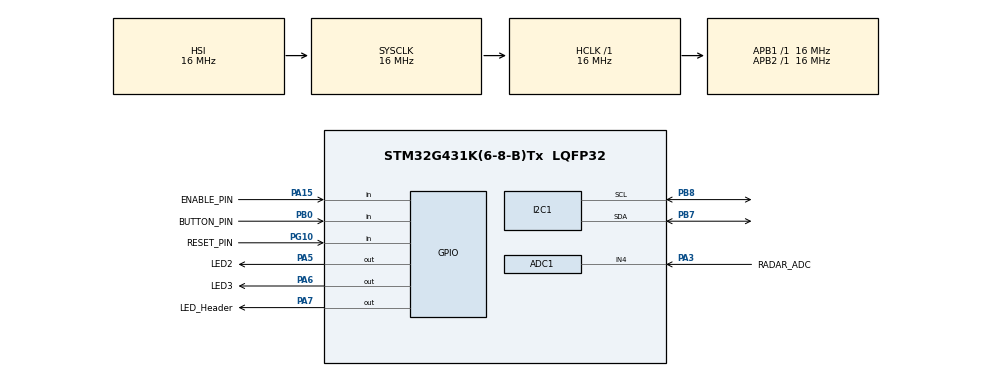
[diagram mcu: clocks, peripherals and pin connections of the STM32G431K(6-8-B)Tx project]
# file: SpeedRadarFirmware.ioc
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ADC1.Channel-1\#ChannelRegularConversion=ADC_CHANNEL_4
ADC1.DMAContinuousRequests=ENABLE
ADC1.ExternalTrigConv=ADC_EXTERNALTRIG_T6_TRGO
ADC1.NbrOfConversionFlag=1
ADC1.OffsetNumber-1\#ChannelRegularConversion=ADC_OFFSET_NONE
ADC1.Rank-1\#ChannelRegularConversion=1
ADC1.SamplingTime-1\#ChannelRegularConversion=ADC_SAMPLETIME_2CYCLES_5
ADC1.master=1
Dma.ADC1.0.Direction=DMA_PERIPH_TO_MEMORY
Dma.ADC1.0.EventEnable=DISABLE
Dma.ADC1.0.Instance=DMA1_Channel1
Dma.ADC1.0.MemDataAlignment=DMA_MDATAALIGN_HALFWORD
Dma.ADC1.0.MemInc=DMA_MINC_ENABLE
Dma.ADC1.0.Mode=DMA_CIRCULAR
Dma.ADC1.0.PeriphDataAlignment=DMA_PDATAALIGN_HALFWORD
Dma.ADC1.0.PeriphInc=DMA_PINC_DISABLE
Dma.ADC1.0.Polarity=HAL_DMAMUX_REQ_GEN_RISING
Dma.ADC1.0.Priority=DMA_PRIORITY_LOW
Dma.ADC1.0.RequestNumber=1
Dma.ADC1.0.SignalID=NONE
Dma.ADC1.0.SyncEnable=DISABLE
Dma.ADC1.0.SyncPolarity=HAL_DMAMUX_SYNC_NO_EVENT
Dma.ADC1.0.SyncRequestNumber=1
Dma.ADC1.0.SyncSignalID=NONE
Dma.Request0=ADC1
I2C1.Timing=0x00503D58
Mcu.Family=STM32G4
Mcu.Name=STM32G431K(6-8-B)Tx
Mcu.Package=LQFP32
NVIC.DMA1_Channel1_IRQn=true\:0\:0\:false\:false\:true\:false\:true\:true
NVIC.PriorityGroup=NVIC_PRIORITYGROUP_4
PA13.Signal=SYS_JTMS-SWDIO
PA14.Signal=SYS_JTCK-SWCLK
PA15.GPIO_Label=ENABLE_PIN
PA15.Signal=GPIO_Input
PA3.GPIO_Label=RADAR_ADC
PA3.Mode=IN4-Single-Ended
PA3.Signal=ADC1_IN4
PA5.GPIO_Label=LED2
PA5.Signal=GPIO_Output
PA6.GPIO_Label=LED3
PA6.Signal=GPIO_Output
PA7.GPIO_Label=LED_Header
PA7.Signal=GPIO_Output
PA8.Signal=I2C2_SDA
PA9.Signal=I2C2_SCL
PB0.GPIO_Label=BUTTON_PIN
PB0.Signal=GPIO_Input
PB7.Mode=I2C
PB7.Signal=I2C1_SDA
PB8-BOOT0.Mode=I2C
PB8-BOOT0.Signal=I2C1_SCL
PG10-NRST.GPIO_Label=RESET_PIN
PG10-NRST.Signal=GPIO_Input
ProjectManager.HeapSize=0x200
ProjectManager.StackSize=0x400
ProjectManager.TargetToolchain=STM32CubeIDE
RCC.AHBFreq_Value=16000000
RCC.APB1Freq_Value=16000000
RCC.APB1TimFreq_Value=16000000
RCC.APB2Freq_Value=16000000
RCC.APB2TimFreq_Value=16000000
RCC.CortexFreq_Value=16000000
RCC.EXTERNAL_CLOCK_VALUE=12288000
RCC.HCLKFreq_Value=16000000
RCC.HSE_VALUE=8000000
RCC.HSI48_VALUE=48000000
RCC.HSI_VALUE=16000000
RCC.LSE_VALUE=32768
RCC.SYSCLKFreq_VALUE=16000000
RCC.USBFreq_Value=64000000
RCC.VCOOutputFreq_Value=128000000
TIM6.AutoReloadPreload=TIM_AUTORELOAD_PRELOAD_ENABLE
TIM6.PeriodNoDither=799
TIM6.Prescaler=1
TIM6.TIM_MasterOutputTrigger=TIM_TRGO_UPDATE
VP_SYS_VS_DBSignals.Mode=DisableDeadBatterySignals
VP_TIM6_VS_ClockSourceINT.Mode=Enable_Timer
board=custom

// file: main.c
/* USER CODE BEGIN Header */

/* USER CODE END Header */
#include "main.h"

/* USER CODE BEGIN Includes */
#include "arm_math.h"
#include <stdio.h>
/* USER CODE END Includes */

/* USER CODE BEGIN PD */
#define ARM_MATH_CM4

#define c 299792458.0f // m/s

// CHANGE 0x30 ADDRESS TO WHATEVER THE EFM* ADD IS
#define EFM8_I2C_ADDR (0x30 << 1)

/* USER CODE END PD */

ADC_HandleTypeDef hadc1;
DMA_HandleTypeDef hdma_adc1;

I2C_HandleTypeDef hi2c1;

TIM_HandleTypeDef htim6;

/* USER CODE BEGIN PV */
volatile uint8_t uart_tx_buffer[2] = {0,0};
/* USER CODE END PV */

void SystemClock_Config(void);
static void MX_GPIO_Init(void);
static void MX_DMA_Init(void);
static void MX_ADC1_Init(void);
static void MX_TIM6_Init(void);
static void MX_I2C1_Init(void);

/* USER CODE BEGIN 0 */
uint16_t ADC_BUFFER[2048];

float32_t ADC_FLOAT[1024];
float32_t fft_output[1024];
float32_t fft_mag[512];
volatile float32_t max_mag;
volatile uint32_t max_mag_index;

volatile uint8_t data_ready_flag = 0;
uint16_t *current_buffer_ptr;

arm_rfft_fast_instance_f32 S;

volatile float32_t velocity;

uint32_t printf_tim_count = 0;
uint8_t enable = 1;

/* USER CODE END 0 */

int main(void)
{

  /* MCU Configuration--------------------------------------------------------*/

  /* Reset of all peripherals, Initializes the Flash interface and the Systick. */
  HAL_Init();

  /* Configure the system clock */
  SystemClock_Config();

  /* Initialize all configured peripherals */
  MX_GPIO_Init();
  MX_DMA_Init();
  MX_ADC1_Init();
  MX_TIM6_Init();
  MX_I2C1_Init();
  /* USER CODE BEGIN 2 */
  arm_status init_status = arm_rfft_fast_init_f32(&S, 1024);
  if (init_status != ARM_MATH_SUCCESS) {
      while(1); // If the code gets stuck here the macros failed
  }
  HAL_ADC_Start_DMA(&hadc1, (uint32_t*)ADC_BUFFER, 2048);
  HAL_TIM_Base_Start(&htim6);

  /* USER CODE END 2 */

  /* Infinite loop */
  /* USER CODE BEGIN WHILE */

  while (1)
  {
	  // check enable pin state
	          if (HAL_GPIO_ReadPin(ENABLE_PIN_GPIO_Port, ENABLE_PIN_Pin) == GPIO_PIN_RESET) {
	        	  HAL_GPIO_WritePin(LED2_GPIO_Port, LED2_Pin, SET);
	              // if enable turned on, but hardware is off
	              if (enable == 0) {
	                  HAL_ADC_Start_DMA(&hadc1, (uint32_t*)ADC_BUFFER, 2048);
	                  HAL_TIM_Base_Start(&htim6);
	                  enable = 1;
	              }

				  if(data_ready_flag != 0){
					  if(data_ready_flag == 1){
						  current_buffer_ptr = &ADC_BUFFER[0];
					  }
					  if(data_ready_flag == 2){
						  current_buffer_ptr = &ADC_BUFFER[1024];
					  }
					  for(int i = 0; i < 1024; i++){
						  ADC_FLOAT[i] = (float32_t)current_buffer_ptr[i]; // Convert to float
						  ADC_FLOAT[i] -= 2048.0f; // Deal with DC offset
					  }

					  arm_rfft_fast_f32(&S, ADC_FLOAT, fft_output, 0); // Forward FFT
					  arm_cmplx_mag_f32(fft_output, fft_mag, 512); // Calculate magnitudes of the complex frequencies

					  arm_max_f32(&fft_mag[5], 512 - 5, &max_mag, &max_mag_index); // findmax

					  // Calculate the velocity
					  if(max_mag > 20000.0f) {
						  velocity = c * ((max_mag_index + 5.0f) * (10000.0f / 1024.0f)) / (2.0f * 10.525e9f);
						  velocity *= 3.6f;
					  }
					  else {
						  velocity = 0.0f;
					  }

					  data_ready_flag = 0;

					  // Scale float to maintain decimal point
					  uint16_t velocity_int = (uint16_t)(velocity * 10.0f);
				  }

	          }
	          else {
	                  // Shutdown hardware if enable pin is low
	                  HAL_GPIO_WritePin(LED2_GPIO_Port, LED2_Pin, RESET);
	                  if (enable == 1) {
	                      HAL_ADC_Stop_DMA(&hadc1);
	                      HAL_TIM_Base_Stop(&htim6);
	                      data_ready_flag = 0; // Clear any pending flags
	                      enable = 0;
	                  }
	              }

    /* USER CODE END WHILE */

  }
}

void SystemClock_Config(void)
{
  RCC_OscInitTypeDef RCC_OscInitStruct = {0};
  RCC_ClkInitTypeDef RCC_ClkInitStruct = {0};

  /** Configure the main internal regulator output voltage
  */
  HAL_PWREx_ControlVoltageScaling(PWR_REGULATOR_VOLTAGE_SCALE1);

  /** Initializes the RCC Oscillators according to the specified parameters
  * in the RCC_OscInitTypeDef structure.
  */
  RCC_OscInitStruct.OscillatorType = RCC_OSCILLATORTYPE_HSI;
  RCC_OscInitStruct.HSIState = RCC_HSI_ON;
  RCC_OscInitStruct.HSICalibrationValue = RCC_HSICALIBRATION_DEFAULT;
  RCC_OscInitStruct.PLL.PLLState = RCC_PLL_NONE;
  if (HAL_RCC_OscConfig(&RCC_OscInitStruct) != HAL_OK)
  {
    Error_Handler();
  }

  /** Initializes the CPU, AHB and APB buses clocks
  */
  RCC_ClkInitStruct.ClockType = RCC_CLOCKTYPE_HCLK|RCC_CLOCKTYPE_SYSCLK
                              |RCC_CLOCKTYPE_PCLK1|RCC_CLOCKTYPE_PCLK2;
  RCC_ClkInitStruct.SYSCLKSource = RCC_SYSCLKSOURCE_HSI;
  RCC_ClkInitStruct.AHBCLKDivider = RCC_SYSCLK_DIV1;
  RCC_ClkInitStruct.APB1CLKDivider = RCC_HCLK_DIV1;
  RCC_ClkInitStruct.APB2CLKDivider = RCC_HCLK_DIV1;

  if (HAL_RCC_ClockConfig(&RCC_ClkInitStruct, FLASH_LATENCY_0) != HAL_OK)
  {
    Error_Handler();
  }
}

static void MX_ADC1_Init(void)
{

  ADC_MultiModeTypeDef multimode = {0};
  ADC_ChannelConfTypeDef sConfig = {0};

  /** Common config
  */
  hadc1.Instance = ADC1;
  hadc1.Init.ClockPrescaler = ADC_CLOCK_SYNC_PCLK_DIV2;
  hadc1.Init.Resolution = ADC_RESOLUTION_12B;
  hadc1.Init.DataAlign = ADC_DATAALIGN_RIGHT;
  hadc1.Init.GainCompensation = 0;
  hadc1.Init.ScanConvMode = ADC_SCAN_DISABLE;
  hadc1.Init.EOCSelection = ADC_EOC_SINGLE_CONV;
  hadc1.Init.LowPowerAutoWait = DISABLE;
  hadc1.Init.ContinuousConvMode = DISABLE;
  hadc1.Init.NbrOfConversion = 1;
  hadc1.Init.DiscontinuousConvMode = DISABLE;
  hadc1.Init.ExternalTrigConv = ADC_EXTERNALTRIG_T6_TRGO;
  hadc1.Init.ExternalTrigConvEdge = ADC_EXTERNALTRIGCONVEDGE_RISING;
  hadc1.Init.DMAContinuousRequests = ENABLE;
  hadc1.Init.Overrun = ADC_OVR_DATA_PRESERVED;
  hadc1.Init.OversamplingMode = DISABLE;
  if (HAL_ADC_Init(&hadc1) != HAL_OK)
  {
    Error_Handler();
  }

  /** Configure the ADC multi-mode
  */
  multimode.Mode = ADC_MODE_INDEPENDENT;
  if (HAL_ADCEx_MultiModeConfigChannel(&hadc1, &multimode) != HAL_OK)
  {
    Error_Handler();
  }

  /** Configure Regular Channel
  */
  sConfig.Channel = ADC_CHANNEL_4;
  sConfig.Rank = ADC_REGULAR_RANK_1;
  sConfig.SamplingTime = ADC_SAMPLETIME_2CYCLES_5;
  sConfig.SingleDiff = ADC_SINGLE_ENDED;
  sConfig.OffsetNumber = ADC_OFFSET_NONE;
  sConfig.Offset = 0;
  if (HAL_ADC_ConfigChannel(&hadc1, &sConfig) != HAL_OK)
  {
    Error_Handler();
  }

}

static void MX_I2C1_Init(void)
{

  hi2c1.Instance = I2C1;
  hi2c1.Init.Timing = 0x00503D58;
  hi2c1.Init.OwnAddress1 = 0;
  hi2c1.Init.AddressingMode = I2C_ADDRESSINGMODE_7BIT;
  hi2c1.Init.DualAddressMode = I2C_DUALADDRESS_DISABLE;
  hi2c1.Init.OwnAddress2 = 0;
  hi2c1.Init.OwnAddress2Masks = I2C_OA2_NOMASK;
  hi2c1.Init.GeneralCallMode = I2C_GENERALCALL_DISABLE;
  hi2c1.Init.NoStretchMode = I2C_NOSTRETCH_DISABLE;
  if (HAL_I2C_Init(&hi2c1) != HAL_OK)
  {
    Error_Handler();
  }

  /** Configure Analogue filter
  */
  if (HAL_I2CEx_ConfigAnalogFilter(&hi2c1, I2C_ANALOGFILTER_ENABLE) != HAL_OK)
  {
    Error_Handler();
  }

  /** Configure Digital filter
  */
  if (HAL_I2CEx_ConfigDigitalFilter(&hi2c1, 0) != HAL_OK)
  {
    Error_Handler();
  }

}

static void MX_TIM6_Init(void)
{

  TIM_MasterConfigTypeDef sMasterConfig = {0};

  htim6.Instance = TIM6;
  htim6.Init.Prescaler = 1;
  htim6.Init.CounterMode = TIM_COUNTERMODE_UP;
  htim6.Init.Period = 799;
  htim6.Init.AutoReloadPreload = TIM_AUTORELOAD_PRELOAD_ENABLE;
  if (HAL_TIM_Base_Init(&htim6) != HAL_OK)
  {
    Error_Handler();
  }
  sMasterConfig.MasterOutputTrigger = TIM_TRGO_UPDATE;
  sMasterConfig.MasterSlaveMode = TIM_MASTERSLAVEMODE_DISABLE;
  if (HAL_TIMEx_MasterConfigSynchronization(&htim6, &sMasterConfig) != HAL_OK)
  {
    Error_Handler();
  }

}

static void MX_DMA_Init(void)
{

  /* DMA controller clock enable */
  __HAL_RCC_DMAMUX1_CLK_ENABLE();
  __HAL_RCC_DMA1_CLK_ENABLE();

  /* DMA interrupt init */
  /* DMA1_Channel1_IRQn interrupt configuration */
  HAL_NVIC_SetPriority(DMA1_Channel1_IRQn, 0, 0);
  HAL_NVIC_EnableIRQ(DMA1_Channel1_IRQn);

}

static void MX_GPIO_Init(void)
{
  GPIO_InitTypeDef GPIO_InitStruct = {0};

  /* GPIO Ports Clock Enable */
  __HAL_RCC_GPIOG_CLK_ENABLE();
  __HAL_RCC_GPIOA_CLK_ENABLE();
  __HAL_RCC_GPIOB_CLK_ENABLE();

  /*Configure GPIO pin Output Level */
  HAL_GPIO_WritePin(GPIOA, LED2_Pin|LED3_Pin|LED_Header_Pin, GPIO_PIN_RESET);

  /*Configure GPIO pin : RESET_PIN_Pin */
  GPIO_InitStruct.Pin = RESET_PIN_Pin;
  GPIO_InitStruct.Mode = GPIO_MODE_INPUT;
  GPIO_InitStruct.Pull = GPIO_NOPULL;
  HAL_GPIO_Init(RESET_PIN_GPIO_Port, &GPIO_InitStruct);

  /*Configure GPIO pins : LED2_Pin LED3_Pin LED_Header_Pin */
  GPIO_InitStruct.Pin = LED2_Pin|LED3_Pin|LED_Header_Pin;
  GPIO_InitStruct.Mode = GPIO_MODE_OUTPUT_PP;
  GPIO_InitStruct.Pull = GPIO_NOPULL;
  GPIO_InitStruct.Speed = GPIO_SPEED_FREQ_LOW;
  HAL_GPIO_Init(GPIOA, &GPIO_InitStruct);

  /*Configure GPIO pin : BUTTON_PIN_Pin */
  GPIO_InitStruct.Pin = BUTTON_PIN_Pin;
  GPIO_InitStruct.Mode = GPIO_MODE_INPUT;
  GPIO_InitStruct.Pull = GPIO_NOPULL;
  HAL_GPIO_Init(BUTTON_PIN_GPIO_Port, &GPIO_InitStruct);

  /*Configure GPIO pins : PA8 PA9 */
  GPIO_InitStruct.Pin = GPIO_PIN_8|GPIO_PIN_9;
  GPIO_InitStruct.Mode = GPIO_MODE_AF_OD;
  GPIO_InitStruct.Pull = GPIO_NOPULL;
  GPIO_InitStruct.Speed = GPIO_SPEED_FREQ_LOW;
  GPIO_InitStruct.Alternate = GPIO_AF4_I2C2;
  HAL_GPIO_Init(GPIOA, &GPIO_InitStruct);

  /*Configure GPIO pin : ENABLE_PIN_Pin */
  GPIO_InitStruct.Pin = ENABLE_PIN_Pin;
  GPIO_InitStruct.Mode = GPIO_MODE_INPUT;
  GPIO_InitStruct.Pull = GPIO_NOPULL;
  HAL_GPIO_Init(ENABLE_PIN_GPIO_Port, &GPIO_InitStruct);

}

/* USER CODE BEGIN 4 */
// This fires when the buffer is HALF full (index 1023)
void HAL_ADC_ConvHalfCpltCallback(ADC_HandleTypeDef* hadc) {
    data_ready_flag = 1;
}

// This fires when the buffer is TOTALLY full (index 2047)
void HAL_ADC_ConvCpltCallback(ADC_HandleTypeDef* hadc) {
    data_ready_flag = 2;
}
/* USER CODE END 4 */

void Error_Handler(void)
{
  __disable_irq();
  while (1)
  {
  }
}
